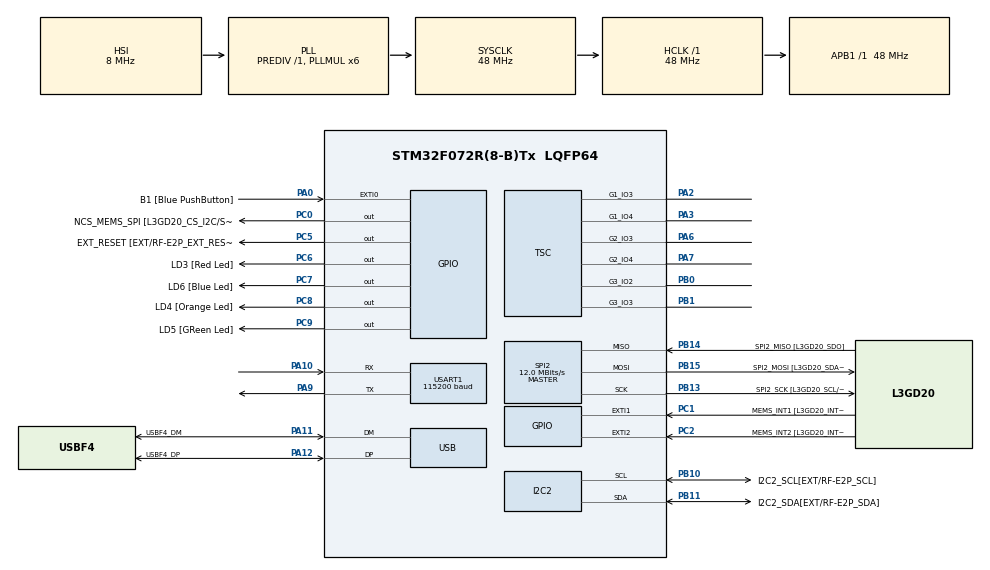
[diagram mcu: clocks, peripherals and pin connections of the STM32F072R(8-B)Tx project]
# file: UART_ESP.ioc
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I2C2.Timing=0x20303E5D
Mcu.Family=STM32F0
Mcu.Name=STM32F072R(8-B)Tx
Mcu.Package=LQFP64
NVIC.USART1_IRQn=true\:0\:0\:false\:false\:true\:true\:true\:true
PA0.GPIO_Label=B1 [Blue PushButton]
PA0.GPIO_ModeDefaultEXTI=GPIO_MODE_EVT_RISING
PA0.Signal=GPXTI0
PA10.Mode=Asynchronous
PA10.Signal=USART1_RX
PA11.GPIO_Label=USBF4_DM
PA11.Mode=Device
PA11.Signal=USB_DM
PA12.GPIO_Label=USBF4_DP
PA12.Mode=Device
PA12.Signal=USB_DP
PA13.GPIO_Label=SWDIO
PA13.Mode=Serial_Wire
PA13.Signal=SYS_SWDIO
PA14.GPIO_Label=SWCLK
PA14.Mode=Serial_Wire
PA14.Signal=SYS_SWCLK
PA2.Mode=G1_IO3-Channel
PA2.Signal=TSC_G1_IO3
PA3.Mode=G1_IO4-Sampling
PA3.Signal=TSC_G1_IO4
PA6.Mode=G2_IO3-Channel
PA6.Signal=TSC_G2_IO3
PA7.Mode=G2_IO4-Sampling
PA7.Signal=TSC_G2_IO4
PA9.Mode=Asynchronous
PA9.Signal=USART1_TX
PB0.Mode=G3_IO2-Channel
PB0.Signal=TSC_G3_IO2
PB1.Mode=G3_IO3-Sampling
PB1.Signal=TSC_G3_IO3
PB10.GPIO_Label=I2C2_SCL[EXT/RF-E2P_SCL]
PB10.GPIO_Pu=GPIO_PULLUP
PB10.Mode=I2C
PB10.Signal=I2C2_SCL
PB11.GPIO_Label=I2C2_SDA[EXT/RF-E2P_SDA]
PB11.GPIO_Pu=GPIO_PULLUP
PB11.Mode=I2C
PB11.Signal=I2C2_SDA
PB13.GPIO_Label=SPI2_SCK [L3GD20_SCL/SPC]
PB13.Mode=Full_Duplex_Master
PB13.Signal=SPI2_SCK
PB14.GPIO_Label=SPI2_MISO [L3GD20_SDO]
PB14.Mode=Full_Duplex_Master
PB14.Signal=SPI2_MISO
PB15.GPIO_Label=SPI2_MOSI [L3GD20_SDA/SDI]
PB15.Mode=Full_Duplex_Master
PB15.Signal=SPI2_MOSI
PC0.GPIO_Label=NCS_MEMS_SPI [L3GD20_CS_I2C/SPI]
PC0.Signal=GPIO_Output
PC1.GPIO_Label=MEMS_INT1 [L3GD20_INT1]
PC1.GPIO_ModeDefaultEXTI=GPIO_MODE_EVT_RISING
PC1.Signal=GPXTI1
PC2.GPIO_Label=MEMS_INT2 [L3GD20_INT2]
PC2.GPIO_ModeDefaultEXTI=GPIO_MODE_EVT_RISING
PC2.Signal=GPXTI2
PC5.GPIO_Label=EXT_RESET [EXT/RF-E2P_EXT_RESET]
PC5.Signal=GPIO_Output
PC6.GPIO_Label=LD3 [Red Led]
PC6.Signal=GPIO_Output
PC7.GPIO_Label=LD6 [Blue Led]
PC7.Signal=GPIO_Output
PC8.GPIO_Label=LD4 [Orange Led]
PC8.Signal=GPIO_Output
PC9.GPIO_Label=LD5 [GReen Led]
PC9.Signal=GPIO_Output
PF0-OSC_IN.Mode=HSE-External-Oscillator
PF0-OSC_IN.Signal=RCC_OSC_IN
PF1-OSC_OUT.Mode=HSE-External-Oscillator
PF1-OSC_OUT.Signal=RCC_OSC_OUT
ProjectManager.HeapSize=0x200
ProjectManager.StackSize=0x400
ProjectManager.TargetToolchain=STM32CubeIDE
RCC.AHBFreq_Value=48000000
RCC.APB1Freq_Value=48000000
RCC.APB1TimFreq_Value=48000000
RCC.HCLKFreq_Value=48000000
RCC.PLLMUL=RCC_PLL_MUL6
RCC.SYSCLKFreq_VALUE=48000000
RCC.SYSCLKSource=RCC_SYSCLKSOURCE_PLLCLK
SPI2.BaudRatePrescaler=SPI_BAUDRATEPRESCALER_4
SPI2.CalculateBaudRate=12.0 MBits/s
SPI2.Direction=SPI_DIRECTION_2LINES
SPI2.Mode=SPI_MODE_MASTER
SPI2.VirtualType=VM_MASTER
TSC.ChannelIOs-G1_IO3-Channel=TSC_GROUP1_IO3
TSC.ChannelIOs-G2_IO3-Channel=TSC_GROUP2_IO3
TSC.ChannelIOs-G3_IO2-Channel=TSC_GROUP3_IO2
TSC.SamplingIOs-G1_IO4-Sampling=TSC_GROUP1_IO4
TSC.SamplingIOs-G2_IO4-Sampling=TSC_GROUP2_IO4
TSC.SamplingIOs-G3_IO3-Sampling=TSC_GROUP3_IO3
USART1.BaudRate=115200
USART1.VirtualMode-Asynchronous=VM_ASYNC
USB.phy_itface=PCD_PHY_EMBEDDED
USB.speed=PCD_SPEED_FULL
board=STM32F072B-DISCO

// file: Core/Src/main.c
/* USER CODE BEGIN Header */
/**
  ******************************************************************************
  * @file           : main.c
  * @brief          : Main program body
  ******************************************************************************
  * @attention
  *
  * Copyright (c) 2023 STMicroelectronics.
  * All rights reserved.
  *
  * This software is licensed under terms that can be found in the LICENSE file
  * in the root directory of this software component.
  * If no LICENSE file comes with this software, it is provided AS-IS.
  *
  ******************************************************************************
  */
/* USER CODE END Header */
#include "main.h"
#include <string.h>
#include <stdio.h>

/* USER CODE BEGIN PD */
char buffer[1];
char buffera[700];
uint8_t counter = 0;
uint8_t flag = 0;
uint8_t flagf = 0;
int counternn = 0;
int symcount = 0;

uint8_t symbbyf[4];
uint8_t AT[4] = "AT\r\n";
uint8_t ATCIFSR[10] = "AT+CIFSR\r\n";
uint8_t AT_CIPMUX[13] ="AT+CIPMUX=1\r\n";
uint8_t AT_CIPSERVER[19] = "AT+CIPSERVER=1,80\r\n";
uint8_t html[] = "HTTP/1.1 200 OK\r\nContent-Type: text/html\r\nConnection: close\r\n\r\n<!DOCTYPE HTML>\r\n<html>\r\nESP8266 server example by\r\n</html>\r\n";
/* USER CODE END PD */

I2C_HandleTypeDef hi2c2;

SPI_HandleTypeDef hspi2;

TSC_HandleTypeDef htsc;

UART_HandleTypeDef huart1;

PCD_HandleTypeDef hpcd_USB_FS;

/* USER CODE BEGIN PV */
void AT_com(char *command, int size){
	flag = 1;
	if (flagf == 0){
		buffera[0] = command[size];
		flagf = 1;
	}
	buffera[counter] = command[0];
	counter++;
	if(strncmp(buffera,"\r\r\n\r\nOK\r\n",9) == 0){
		flag = 0;
		flagf = 0;
		counter = 0;
		memset(buffera, 0, sizeof(buffera));
		HAL_UART_Transmit_IT(&huart1, AT_CIPMUX, sizeof(AT_CIPMUX));

	}else if(strncmp(buffera,"\r\r\n\r\nERROR\r\n",8) == 0){
		flag = 0;
		flagf = 0;
		counter = 0;
		memset(buffera, 0, sizeof(buffera));
		HAL_UART_Transmit_IT(&huart1, AT, sizeof(AT));
	}

}
void AT_CIPMUX_com(char *command, uint8_t size){
	flag = 2;
		if (flagf == 0){
			buffera[0] = command[size];
			flagf = 1;
		}
		buffera[counter] = command[0];
		counter++;
		if(strncmp(buffera,"\r\r\n\r\nOK\r\n",9) == 0){
			flag = 0;
			flagf = 0;
			counter = 0;
			memset(buffera, 0, sizeof(buffera));
			HAL_UART_Transmit_IT(&huart1, AT_CIPSERVER, sizeof(AT_CIPSERVER));

		}else if(strncmp(buffera,"\r\r\nERROR\r\n",8) == 0){
			flag = 0;
			flagf = 0;
			counter = 0;
			memset(buffera, 0, sizeof(buffera));
		}

}

void AT_CIPSERVER_com(char *command, uint8_t size){
	flag = 3;
		if (flagf == 0){
			buffera[0] = command[size];
			flagf = 1;
		}
		buffera[counter] = command[0];
		counter++;
		if(strncmp(buffera,"\r\r\n\r\nOK\r\n",9) == 0){
			flag = 0;
			flagf = 0;
			counter = 0;
			memset(buffera, 0, sizeof(buffera));

		}else if(strncmp(buffera,"\r\r\nERROR\r\n",8) == 0){
			flag = 0;
			flagf = 0;
			counter = 0;
			memset(buffera, 0, sizeof(buffera));
		}else if(strncmp(buffera,"\r\r\nno change\r\n\r\nOK\r\n",20) == 0){
			flag = 0;
			flagf = 0;
			counter = 0;
			memset(buffera, 0, sizeof(buffera));
		}

}

int rncoun(int size, char *symb){
	if(symb[0] == '\r' || symcount > 0){
		symbbyf[symcount] = symb[0];
		symcount++;
		if (symcount == 4){
			if(symbbyf[0] == '\r' && symbbyf[1] == '\n' && symbbyf[2] == '\r' && symbbyf[3] == '\n'){
				counternn ++;
				symcount = 0;
				memset(symbbyf, 0, sizeof(symbbyf));
			} else {
				symcount = 0;
				memset(symbbyf, 0, sizeof(symbbyf));
			}

		}

	}
	return counternn;
}

void Connect(char *command, int size){
	flag = 4;
	if (flagf == 0){
		buffera[0] = command[size];
		flagf = 1;
	}
	buffera[counter] = command[0];
	counter++;
	int indicator = rncoun(counter, command);
	if (indicator == 2){
		char send[40];
		int k = sizeof(html) - 1;
		snprintf(send, sizeof(send), "%s%d%s", "AT+CIPSEND=0,",k,"\r\n");
		HAL_UART_Transmit(&huart1, (uint8_t*)&send, 18, 100);
		flag = 0;
		flagf = 0;
		counter = 0;
		counternn = 0;
		memset(buffera, 0, sizeof(buffera));
	}
}
void AT_send(char *command, int size){
	flag = 5;
			if (flagf == 0){
				buffera[0] = command[size];
				flagf = 1;
			}
			buffera[counter] = command[0];
			counter++;
			if(strncmp(buffera,"\r\r\n\r\nOK\r\n",9) == 0){
				flag = 0;
				flagf = 0;
				counter = 0;
				memset(buffera, 0, sizeof(buffera));
				HAL_UART_Transmit(&huart1, html, sizeof(html), 500);
			}else if(strncmp(buffera,"\r\r\nERROR\r\n",8) == 0){
				flag = 0;
				flagf = 0;
				counter = 0;
				memset(buffera, 0, sizeof(buffera));
			}else if(strncmp(buffera,"\r\r\nno change\r\n\r\nOK\r\n",20) == 0){
				flag = 0;
				flagf = 0;
				counter = 0;
				memset(buffera, 0, sizeof(buffera));
			}
}

void foo(char *command, int size){
    if((strncmp(command,"AT",size-1) == 0 && size > 1) || flag == 1){
    	AT_com(command,size);
    } else if((strncmp(command,"AT+CIPMUX=1",size-1) == 0 && size > 1) || flag == 2){
    	AT_CIPMUX_com(command,size);
    } else if ((strncmp(command,"AT+CIPSERVER=1,80",size-1) == 0 && size > 1) || flag == 3){
    	AT_CIPSERVER_com(command,size);
    } else if ((strncmp(command,"0,CONNECT",size-1) == 0 && size > 1) || flag == 4){
    	Connect(command,size);
    } else if((strncmp(command,"AT+CIPSEND=0,129",10) == 0 && size > 1) || flag == 5){
    	AT_send(command,size);
    }
}

void HAL_UART_RxCpltCallback(UART_HandleTypeDef *huart){
	if(buffer[0] != '\r' && buffer[0] != '\n' && flag == 0){
		buffera[counter] = buffer[0];
		counter++;
	} else if(flag != 0){
		foo(buffer, 1);
	}
	else {
		buffera[counter] = buffer[0];
		foo(buffera,counter);
		counter = 1;
	}
	HAL_UART_Receive_IT(&huart1, (uint8_t*)&buffer, 1);
}
/* USER CODE END PV */

void SystemClock_Config(void);
static void MX_GPIO_Init(void);
static void MX_I2C2_Init(void);
static void MX_SPI2_Init(void);
static void MX_TSC_Init(void);
static void MX_USB_PCD_Init(void);
static void MX_USART1_UART_Init(void);

int main(void)
{

  /* MCU Configuration--------------------------------------------------------*/

  /* Reset of all peripherals, Initializes the Flash interface and the Systick. */
  HAL_Init();

  /* Configure the system clock */
  SystemClock_Config();

  /* Initialize all configured peripherals */
  MX_GPIO_Init();
  MX_I2C2_Init();
  MX_SPI2_Init();
  MX_TSC_Init();
  MX_USB_PCD_Init();
  MX_USART1_UART_Init();
  /* USER CODE BEGIN 2 */
  HAL_UART_Receive_IT(&huart1, (uint8_t*)&buffer, 1);
  HAL_UART_Transmit_IT(&huart1, AT, sizeof(AT));
  /* USER CODE END 2 */

  /* Infinite loop */
  while (1)
  {
	  HAL_GPIO_TogglePin(GPIOC, LD4_Pin);
	  HAL_Delay(100);
  }
}

void SystemClock_Config(void)
{
  RCC_OscInitTypeDef RCC_OscInitStruct = {0};
  RCC_ClkInitTypeDef RCC_ClkInitStruct = {0};
  RCC_PeriphCLKInitTypeDef PeriphClkInit = {0};

  /** Initializes the RCC Oscillators according to the specified parameters
  * in the RCC_OscInitTypeDef structure.
  */
  RCC_OscInitStruct.OscillatorType = RCC_OSCILLATORTYPE_HSI|RCC_OSCILLATORTYPE_HSI48;
  RCC_OscInitStruct.HSIState = RCC_HSI_ON;
  RCC_OscInitStruct.HSI48State = RCC_HSI48_ON;
  RCC_OscInitStruct.HSICalibrationValue = RCC_HSICALIBRATION_DEFAULT;
  RCC_OscInitStruct.PLL.PLLState = RCC_PLL_ON;
  RCC_OscInitStruct.PLL.PLLSource = RCC_PLLSOURCE_HSI;
  RCC_OscInitStruct.PLL.PLLMUL = RCC_PLL_MUL6;
  RCC_OscInitStruct.PLL.PREDIV = RCC_PREDIV_DIV1;
  if (HAL_RCC_OscConfig(&RCC_OscInitStruct) != HAL_OK)
  {
    Error_Handler();
  }

  /** Initializes the CPU, AHB and APB buses clocks
  */
  RCC_ClkInitStruct.ClockType = RCC_CLOCKTYPE_HCLK|RCC_CLOCKTYPE_SYSCLK
                              |RCC_CLOCKTYPE_PCLK1;
  RCC_ClkInitStruct.SYSCLKSource = RCC_SYSCLKSOURCE_PLLCLK;
  RCC_ClkInitStruct.AHBCLKDivider = RCC_SYSCLK_DIV1;
  RCC_ClkInitStruct.APB1CLKDivider = RCC_HCLK_DIV1;

  if (HAL_RCC_ClockConfig(&RCC_ClkInitStruct, FLASH_LATENCY_1) != HAL_OK)
  {
    Error_Handler();
  }
  PeriphClkInit.PeriphClockSelection = RCC_PERIPHCLK_USB|RCC_PERIPHCLK_USART1;
  PeriphClkInit.Usart1ClockSelection = RCC_USART1CLKSOURCE_PCLK1;
  PeriphClkInit.UsbClockSelection = RCC_USBCLKSOURCE_HSI48;

  if (HAL_RCCEx_PeriphCLKConfig(&PeriphClkInit) != HAL_OK)
  {
    Error_Handler();
  }
}

static void MX_I2C2_Init(void)
{

  hi2c2.Instance = I2C2;
  hi2c2.Init.Timing = 0x20303E5D;
  hi2c2.Init.OwnAddress1 = 0;
  hi2c2.Init.AddressingMode = I2C_ADDRESSINGMODE_7BIT;
  hi2c2.Init.DualAddressMode = I2C_DUALADDRESS_DISABLE;
  hi2c2.Init.OwnAddress2 = 0;
  hi2c2.Init.OwnAddress2Masks = I2C_OA2_NOMASK;
  hi2c2.Init.GeneralCallMode = I2C_GENERALCALL_DISABLE;
  hi2c2.Init.NoStretchMode = I2C_NOSTRETCH_DISABLE;
  if (HAL_I2C_Init(&hi2c2) != HAL_OK)
  {
    Error_Handler();
  }

  /** Configure Analogue filter
  */
  if (HAL_I2CEx_ConfigAnalogFilter(&hi2c2, I2C_ANALOGFILTER_ENABLE) != HAL_OK)
  {
    Error_Handler();
  }

  /** Configure Digital filter
  */
  if (HAL_I2CEx_ConfigDigitalFilter(&hi2c2, 0) != HAL_OK)
  {
    Error_Handler();
  }

}

static void MX_SPI2_Init(void)
{

  /* SPI2 parameter configuration*/
  hspi2.Instance = SPI2;
  hspi2.Init.Mode = SPI_MODE_MASTER;
  hspi2.Init.Direction = SPI_DIRECTION_2LINES;
  hspi2.Init.DataSize = SPI_DATASIZE_4BIT;
  hspi2.Init.CLKPolarity = SPI_POLARITY_LOW;
  hspi2.Init.CLKPhase = SPI_PHASE_1EDGE;
  hspi2.Init.NSS = SPI_NSS_SOFT;
  hspi2.Init.BaudRatePrescaler = SPI_BAUDRATEPRESCALER_4;
  hspi2.Init.FirstBit = SPI_FIRSTBIT_MSB;
  hspi2.Init.TIMode = SPI_TIMODE_DISABLE;
  hspi2.Init.CRCCalculation = SPI_CRCCALCULATION_DISABLE;
  hspi2.Init.CRCPolynomial = 7;
  hspi2.Init.CRCLength = SPI_CRC_LENGTH_DATASIZE;
  hspi2.Init.NSSPMode = SPI_NSS_PULSE_ENABLE;
  if (HAL_SPI_Init(&hspi2) != HAL_OK)
  {
    Error_Handler();
  }

}

static void MX_TSC_Init(void)
{

  /** Configure the TSC peripheral
  */
  htsc.Instance = TSC;
  htsc.Init.CTPulseHighLength = TSC_CTPH_2CYCLES;
  htsc.Init.CTPulseLowLength = TSC_CTPL_2CYCLES;
  htsc.Init.SpreadSpectrum = DISABLE;
  htsc.Init.SpreadSpectrumDeviation = 1;
  htsc.Init.SpreadSpectrumPrescaler = TSC_SS_PRESC_DIV1;
  htsc.Init.PulseGeneratorPrescaler = TSC_PG_PRESC_DIV4;
  htsc.Init.MaxCountValue = TSC_MCV_8191;
  htsc.Init.IODefaultMode = TSC_IODEF_OUT_PP_LOW;
  htsc.Init.SynchroPinPolarity = TSC_SYNC_POLARITY_FALLING;
  htsc.Init.AcquisitionMode = TSC_ACQ_MODE_NORMAL;
  htsc.Init.MaxCountInterrupt = DISABLE;
  htsc.Init.ChannelIOs = TSC_GROUP1_IO3|TSC_GROUP2_IO3|TSC_GROUP3_IO2;
  htsc.Init.ShieldIOs = 0;
  htsc.Init.SamplingIOs = TSC_GROUP1_IO4|TSC_GROUP2_IO4|TSC_GROUP3_IO3;
  if (HAL_TSC_Init(&htsc) != HAL_OK)
  {
    Error_Handler();
  }

}

static void MX_USART1_UART_Init(void)
{

  huart1.Instance = USART1;
  huart1.Init.BaudRate = 115200;
  huart1.Init.WordLength = UART_WORDLENGTH_8B;
  huart1.Init.StopBits = UART_STOPBITS_1;
  huart1.Init.Parity = UART_PARITY_NONE;
  huart1.Init.Mode = UART_MODE_TX_RX;
  huart1.Init.HwFlowCtl = UART_HWCONTROL_NONE;
  huart1.Init.OverSampling = UART_OVERSAMPLING_16;
  huart1.Init.OneBitSampling = UART_ONE_BIT_SAMPLE_DISABLE;
  huart1.AdvancedInit.AdvFeatureInit = UART_ADVFEATURE_NO_INIT;
  if (HAL_UART_Init(&huart1) != HAL_OK)
  {
    Error_Handler();
  }

}

static void MX_USB_PCD_Init(void)
{

  hpcd_USB_FS.Instance = USB;
  hpcd_USB_FS.Init.dev_endpoints = 8;
  hpcd_USB_FS.Init.speed = PCD_SPEED_FULL;
  hpcd_USB_FS.Init.phy_itface = PCD_PHY_EMBEDDED;
  hpcd_USB_FS.Init.low_power_enable = DISABLE;
  hpcd_USB_FS.Init.lpm_enable = DISABLE;
  hpcd_USB_FS.Init.battery_charging_enable = DISABLE;
  if (HAL_PCD_Init(&hpcd_USB_FS) != HAL_OK)
  {
    Error_Handler();
  }

}

static void MX_GPIO_Init(void)
{
  GPIO_InitTypeDef GPIO_InitStruct = {0};

  /* GPIO Ports Clock Enable */
  __HAL_RCC_GPIOF_CLK_ENABLE();
  __HAL_RCC_GPIOC_CLK_ENABLE();
  __HAL_RCC_GPIOA_CLK_ENABLE();
  __HAL_RCC_GPIOB_CLK_ENABLE();

  /*Configure GPIO pin Output Level */
  HAL_GPIO_WritePin(GPIOC, NCS_MEMS_SPI_Pin|EXT_RESET_Pin|LD3_Pin|LD6_Pin
                          |LD4_Pin|LD5_Pin, GPIO_PIN_RESET);

  /*Configure GPIO pins : NCS_MEMS_SPI_Pin EXT_RESET_Pin LD3_Pin LD6_Pin
                           LD4_Pin LD5_Pin */
  GPIO_InitStruct.Pin = NCS_MEMS_SPI_Pin|EXT_RESET_Pin|LD3_Pin|LD6_Pin
                          |LD4_Pin|LD5_Pin;
  GPIO_InitStruct.Mode = GPIO_MODE_OUTPUT_PP;
  GPIO_InitStruct.Pull = GPIO_NOPULL;
  GPIO_InitStruct.Speed = GPIO_SPEED_FREQ_LOW;
  HAL_GPIO_Init(GPIOC, &GPIO_InitStruct);

  /*Configure GPIO pins : MEMS_INT1_Pin MEMS_INT2_Pin */
  GPIO_InitStruct.Pin = MEMS_INT1_Pin|MEMS_INT2_Pin;
  GPIO_InitStruct.Mode = GPIO_MODE_EVT_RISING;
  GPIO_InitStruct.Pull = GPIO_NOPULL;
  HAL_GPIO_Init(GPIOC, &GPIO_InitStruct);

  /*Configure GPIO pin : B1_Pin */
  GPIO_InitStruct.Pin = B1_Pin;
  GPIO_InitStruct.Mode = GPIO_MODE_EVT_RISING;
  GPIO_InitStruct.Pull = GPIO_NOPULL;
  HAL_GPIO_Init(B1_GPIO_Port, &GPIO_InitStruct);

}

void Error_Handler(void)
{
  __disable_irq();
  while (1)
  {
  }
}
